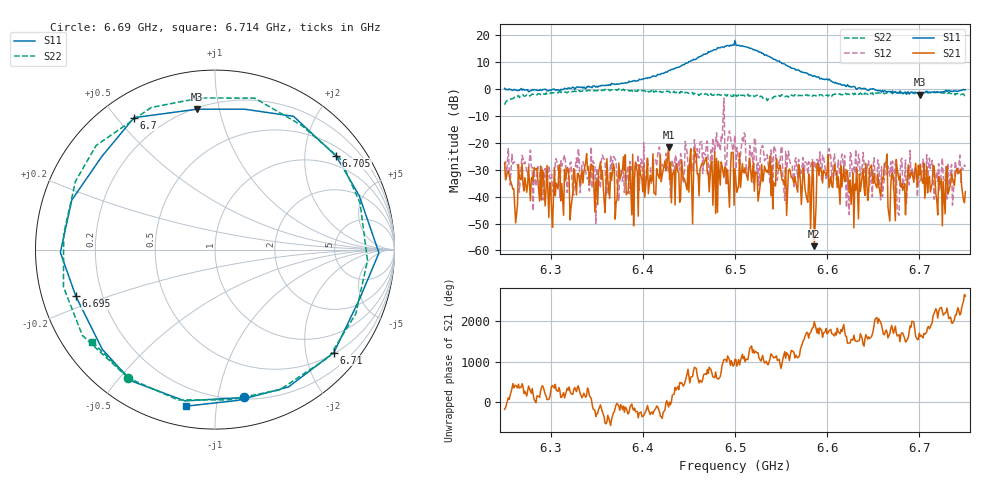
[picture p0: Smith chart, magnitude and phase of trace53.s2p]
# Hz S RI R 50
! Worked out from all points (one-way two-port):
!   401 points, 6.25 GHz to 6.75 GHz, reference 50 ohm
!   highest |S21| = -21.50 dB at 6.428 GHz (marker M1); lowest = -58.4 dB at 6.586 GHz (marker M2)
!   lowest |S11| = -2.1 dB at 6.701 GHz (marker M3), VSWR 8.47, Z = 10.4 + j42.9 ohm
!   |S11| at or under -10 dB: nowhere
!   |S22| runs from -5.8 to 0.0 dB; largest |S21 - S12| = 0.68
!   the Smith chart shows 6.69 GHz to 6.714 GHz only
!   S11 on the Smith chart (normalised r, x): 6.69 GHz: 0.21, -1.20; 6.695 GHz: 0.10, -0.16; 6.7 GHz: 0.10, +0.56; 6.705 GHz: 0.72, +2.76; 6.71 GHz: 0.52, -2.59; 6.714 GHz: 0.10, -0.83
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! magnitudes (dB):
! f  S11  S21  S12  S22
! 6.25 GHz  0.2  -27.4  -28.1  -5.8
! 6.261 GHz  -0.3  -43.6  -27.1  -2.9
! 6.268 GHz  0.2  -33.7  -28.2  -2.6
! 6.3 GHz  -0.5  -35.7  -33.2  -1.4
! 6.334 GHz  0.7  -30.2  -27.9  -0.8
! 6.351 GHz  0.7  -43.0  -34.8  -0.6
! 6.418 GHz  5.4  -33.3  -21.5  -1.0
! 6.428 GHz  6.8  -21.5  -31.1  -0.8
! 6.5 GHz  18.0  -29.6  -17.3  -2.5
! 6.548 GHz  10.4  -29.7  -26.0  -2.4
! 6.584 GHz  4.8  -27.3  -26.2  -2.7
! 6.586 GHz  5.0  -58.4  -26.7  -2.4
! 6.591 GHz  4.4  -31.7  -32.2  -2.6
! 6.668 GHz  -0.9  -49.1  -32.4  -1.6
! 6.69 GHz  -1.5  -32.9  -22.8  -1.3
! 6.695 GHz  -1.7  -31.4  -29.9  -1.3
! 6.7 GHz  -1.3  -32.0  -34.6  -1.2
! 6.701 GHz  -2.1  -28.0  -34.0  -1.5
! 6.705 GHz  -1.4  -27.7  -28.7  -1.4
! 6.71 GHz  -1.1  -33.1  -29.2  -1.5
! 6.714 GHz  -1.0  -35.0  -26.5  -1.3
! 6.75 GHz  -0.3  -38.2  -28.8  -2.1
